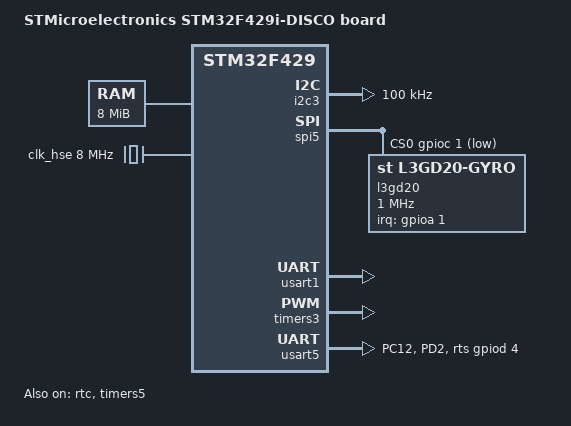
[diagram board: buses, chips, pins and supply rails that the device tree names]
// file: stm32f429disco-custom.dts

/dts-v1/;
#include "stm32f429.dtsi"
#include "stm32f429-pinctrl.dtsi"
#include <dt-bindings/interrupt-controller/irq.h>
#include <dt-bindings/gpio/gpio.h>

/ {
	model = "STMicroelectronics STM32F429i-DISCO board";
	compatible = "st,stm32f429i-disco", "st,stm32f429";

	chosen {
		bootargs = "root=/dev/ram";
		//bootargs = "root=/dev/ram clocksource=arm_system_timer";
		stdout-path = "serial0:115200n8";
	};

	memory@90000000 {
		device_type = "memory";
		reg = <0x90000000 0x800000>;
	};

	aliases {
		serial0 = &usart1;
		serial1 = &usart5;
	};

};

&clk_hse {
	clock-frequency = <8000000>;
};

&i2c3 {
	pinctrl-names = "default";
	pinctrl-0 = <&i2c3_pins>;
	clock-frequency = <100000>;
	status = "okay";
};

&rtc {
	assigned-clocks = <&rcc 1 CLK_RTC>;
	assigned-clock-parents = <&rcc 1 CLK_LSI>;
	status = "okay";
};

&spi5 {
	status = "okay";
	pinctrl-0 = <&spi5_pins>;
	pinctrl-names = "default";
	#address-cells = <1>;
	#size-cells = <0>;
	cs-gpios = <&gpioc 1 GPIO_ACTIVE_LOW>;
    
	l3gd20: l3gd20@0 {
		/* Note: Order of compatible strings matters! Uses L3GD20 driver if available, otherwise spidev ("rohm,dh2228fv")  fallback */
		compatible = "st,l3gd20-gyro", "rohm,dh2228fv";
		/* The spidev driver ignores any unknown properties in the DT node. */
		spi-max-frequency = <1000000>;
		st,drdy-int-pin = <2>;
		interrupt-parent = <&gpioa>;
		interrupts = <1 IRQ_TYPE_EDGE_RISING>,
				<2 IRQ_TYPE_EDGE_RISING>;
		reg = <0>;
		status = "okay";
	};
};

&timers5 {
	/* Override timer5 to act as clockevent */
	compatible = "st,stm32-timer";
	interrupts = <50>;
	status = "okay";
	/delete-property/#address-cells;
	/delete-property/#size-cells;
	/delete-property/clock-names;
	/delete-node/pwm;
	/delete-node/timer@4;
};

&usart1 {
	pinctrl-0 = <&usart1_pins_a>;
	pinctrl-names = "default";
	status = "okay";
};

&gpioa {
    status = "okay";
};

/* --- PWM Configuration --- */
&pwm3_pins {
    pins {
        pinmux = <STM32_PINMUX('B', 4, AF2)>; /* Keep only TIM3_CH1 (PB4) */
    };
};

&timers3 {
    status = "okay";
	pinctrl-names = "default";
	pinctrl-0 = <&pwm3_pins>;
    pwm {
        status = "okay";
    };
};

/* UART5 uses free expansion-header pins and can coexist with LTDC and W5500. */
&pinctrl {
	uart5_pins: uart5-0 {
		pins1 {
			pinmux = <STM32_PINMUX('C', 12, AF8)>; /* UART5_TX, P2 pin 44 */
			bias-disable;
			drive-push-pull;
			slew-rate = <0>;
		};

		pins2 {
			pinmux = <STM32_PINMUX('D', 2, AF8)>; /* UART5_RX, P2 pin 40 */
			bias-disable;
		};
	};
};

&usart5 {
	pinctrl-0 = <&uart5_pins>;
	pinctrl-names = "default";
	status = "okay";

	/* ioexample8 enables RS-485 dynamically; use free P2 pin 38 for DE. */
	rts-gpios = <&gpiod 4 GPIO_ACTIVE_HIGH>;
};
